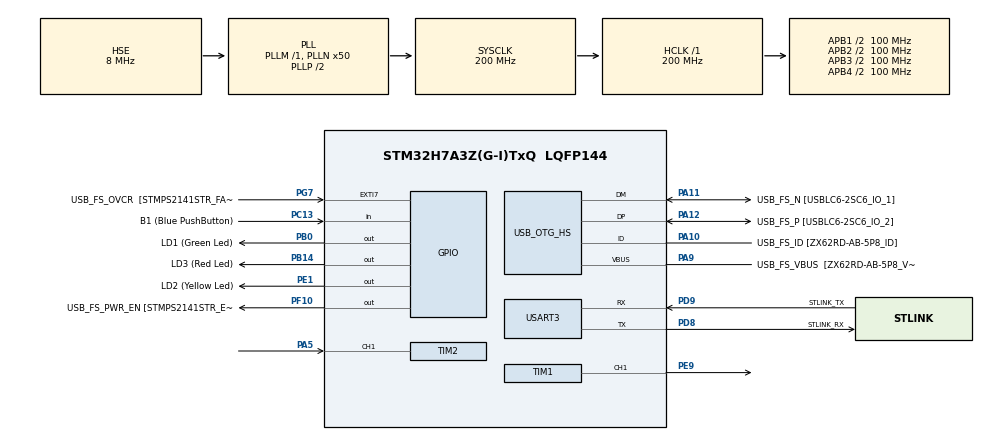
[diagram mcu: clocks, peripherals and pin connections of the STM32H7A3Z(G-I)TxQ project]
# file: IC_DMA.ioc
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Dma.Request0=TIM2_CH1
Dma.Request1=TIM2_CH2
Dma.TIM2_CH1.0.Direction=DMA_PERIPH_TO_MEMORY
Dma.TIM2_CH1.0.EventEnable=DISABLE
Dma.TIM2_CH1.0.FIFOMode=DMA_FIFOMODE_DISABLE
Dma.TIM2_CH1.0.Instance=DMA1_Stream0
Dma.TIM2_CH1.0.MemDataAlignment=DMA_MDATAALIGN_WORD
Dma.TIM2_CH1.0.MemInc=DMA_MINC_ENABLE
Dma.TIM2_CH1.0.Mode=DMA_NORMAL
Dma.TIM2_CH1.0.PeriphDataAlignment=DMA_PDATAALIGN_WORD
Dma.TIM2_CH1.0.PeriphInc=DMA_PINC_DISABLE
Dma.TIM2_CH1.0.Polarity=HAL_DMAMUX_REQ_GEN_RISING
Dma.TIM2_CH1.0.Priority=DMA_PRIORITY_LOW
Dma.TIM2_CH1.0.RequestNumber=1
Dma.TIM2_CH1.0.SignalID=NONE
Dma.TIM2_CH1.0.SyncEnable=DISABLE
Dma.TIM2_CH1.0.SyncPolarity=HAL_DMAMUX_SYNC_NO_EVENT
Dma.TIM2_CH1.0.SyncRequestNumber=1
Dma.TIM2_CH1.0.SyncSignalID=NONE
Dma.TIM2_CH2.1.Direction=DMA_PERIPH_TO_MEMORY
Dma.TIM2_CH2.1.EventEnable=DISABLE
Dma.TIM2_CH2.1.FIFOMode=DMA_FIFOMODE_DISABLE
Dma.TIM2_CH2.1.Instance=DMA1_Stream1
Dma.TIM2_CH2.1.MemDataAlignment=DMA_MDATAALIGN_WORD
Dma.TIM2_CH2.1.MemInc=DMA_MINC_ENABLE
Dma.TIM2_CH2.1.Mode=DMA_NORMAL
Dma.TIM2_CH2.1.PeriphDataAlignment=DMA_PDATAALIGN_WORD
Dma.TIM2_CH2.1.PeriphInc=DMA_PINC_DISABLE
Dma.TIM2_CH2.1.Polarity=HAL_DMAMUX_REQ_GEN_RISING
Dma.TIM2_CH2.1.Priority=DMA_PRIORITY_LOW
Dma.TIM2_CH2.1.RequestNumber=1
Dma.TIM2_CH2.1.SignalID=NONE
Dma.TIM2_CH2.1.SyncEnable=DISABLE
Dma.TIM2_CH2.1.SyncPolarity=HAL_DMAMUX_SYNC_NO_EVENT
Dma.TIM2_CH2.1.SyncRequestNumber=1
Dma.TIM2_CH2.1.SyncSignalID=NONE
Mcu.Family=STM32H7
Mcu.Name=STM32H7A3Z(G-I)TxQ
Mcu.Package=LQFP144
NVIC.DMA1_Stream0_IRQn=true\:0\:0\:false\:false\:true\:false\:true\:true
NVIC.DMA1_Stream1_IRQn=true\:0\:0\:false\:false\:true\:false\:true\:true
NVIC.PriorityGroup=NVIC_PRIORITYGROUP_4
NVIC.TIM2_IRQn=true\:0\:0\:false\:false\:true\:true\:true\:true
PA10.GPIO_Label=USB_FS_ID [ZX62RD-AB-5P8_ID]
PA10.Mode=OTG/Dual-Role-Device-FS
PA10.Signal=USB_OTG_HS_ID
PA11.GPIO_Label=USB_FS_N [USBLC6-2SC6_IO_1]
PA11.Mode=OTG/Dual-Role-Device-FS
PA11.Signal=USB_OTG_HS_DM
PA12.GPIO_Label=USB_FS_P [USBLC6-2SC6_IO_2]
PA12.Mode=OTG/Dual-Role-Device-FS
PA12.Signal=USB_OTG_HS_DP
PA5.Signal=S_TIM2_CH1_ETR
PA9.GPIO_Label=USB_FS_VBUS  [ZX62RD-AB-5P8_VBUS]
PA9.Mode=Activate_VBUS_FS
PA9.Signal=USB_OTG_HS_VBUS
PB0.GPIO_Label=LD1 (Green Led)
PB0.Signal=GPIO_Output
PB14.GPIO_Label=LD3 (Red Led)
PB14.Signal=GPIO_Output
PC13.GPIO_Label=B1 (Blue PushButton)
PC13.Signal=GPIO_Input
PC14-OSC32_IN.GPIO_Label=OSC32_IN
PC14-OSC32_IN.Mode=LSE-External-Oscillator
PC14-OSC32_IN.Signal=RCC_OSC32_IN
PC15-OSC32_OUT.GPIO_Label=OSC32_OUT
PC15-OSC32_OUT.Mode=LSE-External-Oscillator
PC15-OSC32_OUT.Signal=RCC_OSC32_OUT
PD8.GPIO_Label=STLINK_RX
PD8.Mode=Asynchronous
PD8.Signal=USART3_TX
PD9.GPIO_Label=STLINK_TX
PD9.Mode=Asynchronous
PD9.Signal=USART3_RX
PE1.GPIO_Label=LD2 (Yellow Led)
PE1.Signal=GPIO_Output
PE9.Signal=S_TIM1_CH1
PF10.GPIO_Label=USB_FS_PWR_EN [STMPS2141STR_EN]
PF10.Signal=GPIO_Output
PG7.GPIO_Label=USB_FS_OVCR  [STMPS2141STR_FAULT]
PG7.Signal=GPXTI7
PH0-OSC_IN.GPIO_Label=PH0-MCU
PH0-OSC_IN.Mode=HSE-External-Clock-Source
PH0-OSC_IN.Signal=RCC_OSC_IN
PH1-OSC_OUT.GPIO_Label=PH1-MCU
PH1-OSC_OUT.Signal=RCC_OSC_OUT
ProjectManager.HeapSize=0x200
ProjectManager.StackSize=0x400
ProjectManager.TargetToolchain=STM32CubeIDE
RCC.ADCFreq_Value=16125000
RCC.APB1Freq_Value=100000000
RCC.APB2Freq_Value=100000000
RCC.APB3Freq_Value=100000000
RCC.APB4Freq_Value=100000000
RCC.CDPPRE=RCC_APB3_DIV2
RCC.CDPPRE1=RCC_APB1_DIV2
RCC.CDPPRE2=RCC_APB2_DIV2
RCC.CortexFreq_Value=200000000
RCC.DIVM1=1
RCC.DIVM3=1
RCC.DIVN1=50
RCC.DIVN3=24
RCC.DIVQ1=4
RCC.HCLKFreq_Value=200000000
RCC.HSE_VALUE=8000000
RCC.PLLFRACN=0
RCC.PLLSourceVirtual=RCC_PLLSOURCE_HSE
RCC.PWR_Regulator_Voltage_Scale=PWR_REGULATOR_VOLTAGE_SCALE0
RCC.SRDPPRE=RCC_APB4_DIV2
RCC.SYSCLKFreq_VALUE=200000000
RCC.SYSCLKSource=RCC_SYSCLKSOURCE_PLLCLK
RCC.SupplySource=PWR_DIRECT_SMPS_SUPPLY
RCC.USBCLockSelection=RCC_USBCLKSOURCE_HSI48
RCC.USBFreq_Value=48000000
SH.S_TIM1_CH1.0=TIM1_CH1,PWM Generation1 CH1
SH.S_TIM2_CH1_ETR.0=TIM2_CH1,Input_Capture1_from_TI1
TIM1.AutoReloadPreload=TIM_AUTORELOAD_PRELOAD_ENABLE
TIM1.Channel-PWM\ Generation1\ CH1=TIM_CHANNEL_1
TIM1.Period=40
TIM1.Prescaler=0
TIM1.Pulse-PWM\ Generation1\ CH1=0
TIM2.AutoReloadPreload=TIM_AUTORELOAD_PRELOAD_ENABLE
TIM2.Channel-Input_Capture1_from_TI1=TIM_CHANNEL_1
TIM2.Channel-Input_Capture2_from_TI1_63=TIM_CHANNEL_2
TIM2.ICPolarity_CH1=TIM_INPUTCHANNELPOLARITY_RISING
TIM2.ICPolarity_CH2=TIM_INPUTCHANNELPOLARITY_FALLING
TIM2.Period=4294967295
USART3.VirtualMode-Asynchronous=VM_ASYNC
VP_TIM1_VS_ClockSourceINT.Mode=Internal
VP_TIM2_VS_ClockSourceINT.Mode=Internal
VP_TIM2_VS_indirect_ch1.Mode=Input_Capture2_from_TI1_63
board=NUCLEO-H7A3ZI-Q

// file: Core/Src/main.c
/* USER CODE BEGIN Header */
/**
  ******************************************************************************
  * @file           : main.c
  * @brief          : Main program body
  ******************************************************************************
  * @attention
  *
  * Copyright (c) 2024 STMicroelectronics.
  * All rights reserved.
  *
  * This software is licensed under terms that can be found in the LICENSE file
  * in the root directory of this software component.
  * If no LICENSE file comes with this software, it is provided AS-IS.
  *
  ******************************************************************************
  */
/* USER CODE END Header */
#include "main.h"

TIM_HandleTypeDef htim1;
TIM_HandleTypeDef htim2;
DMA_HandleTypeDef hdma_tim2_ch1;
DMA_HandleTypeDef hdma_tim2_ch2;

UART_HandleTypeDef huart3;

void SystemClock_Config(void);
static void MX_GPIO_Init(void);
static void MX_DMA_Init(void);
static void MX_USB_OTG_HS_USB_Init(void);
static void MX_TIM2_Init(void);
static void MX_USART3_UART_Init(void);
static void MX_TIM1_Init(void);

/* USER CODE BEGIN 0 */
/**************** PWM INPUT **************/

/* define the capturing TIMER's CLOCK and the Prescalar you are using */
#define TIMCLOCK   200000000
#define PSCALAR    0

/* Define the number of samples to be taken by the DMA
   For lower Frequencies, keep the less number for samples
*/
#define numval   10000

#define MIN(a,b) ((a) < (b) ? (a) : (b))

int riseCaptured = 0;
int fallCaptured = 0;

uint32_t riseData[numval];
uint32_t fallData[numval];

float frequency = 0;
float period = 0;
float width = 0;

int isMeasured = 0;

void HAL_TIM_IC_CaptureCallback(TIM_HandleTypeDef *htim)
{
	// If the Interrupt is triggered by 1st Channel
	if (htim->Channel == HAL_TIM_ACTIVE_CHANNEL_1)
	{
		riseCaptured = 1;
	}

	// If the Interrupt is triggered by 2nd Channel
	if (htim->Channel == HAL_TIM_ACTIVE_CHANNEL_2)
	{
		fallCaptured = 1;
	}

	/* Rest of the calculations will be done,
	 * once both the DMAs have finished capturing enough data */
	if ((riseCaptured) && (fallCaptured))
	{

		// calculate the reference clock
		float refClock = TIMCLOCK/(PSCALAR+1);

		int indxr = 0;
		int indxf = 0;

		int countr = 0;
		int countrf = 0;

		float riseavg = 0;
		float rfavg = 0;

		/* In case of high Frequencies, the DMA sometimes captures 0's in the beginning.
		 * increment the index until some useful data shows up
		 */
		while (riseData[indxr] == 0) indxr++;

		/* Again at very high frequencies, sometimes the values don't change
		 * So we will wait for the update among the values
		 */
		while ((MIN((riseData[indxr+1]-riseData[indxr]), (riseData[indxr+2]-riseData[indxr+1]))) == 0) indxr++;

		/* riseavg is the difference in the 2 consecutive rise Time */

		/* Assign a start value to riseavg */
		riseavg += MIN((riseData[indxr+1]-riseData[indxr]), (riseData[indxr+2]-riseData[indxr+1]));
		indxr++;
		countr++;

		/* start adding the values to the riseavg */
		while (indxr < (numval))
		{
			riseavg += MIN((riseData[indxr+1]-riseData[indxr]), riseavg/countr);
			countr++;
			indxr++;
		}

		/* Find the average riseavg, the average time between 2 RISE */
		riseavg = riseavg/countr;

		indxr = 0;

		/* The calculation for the Falling pulse on second channel */

		/* If the fall time is lower than rise time,
		 * Then there must be some error and we will increment
		 * both, until the error is gone
		 */
		if (fallData[indxf] < riseData[indxr])
		{
			indxf+=2; indxr+=2;
			while (fallData[indxf] < riseData[indxr]) indxf++;
		}

		else if (fallData[indxf] > riseData[indxr])
		{
			indxf+=2; indxr+=2;
			while (fallData[indxf] > riseData[indxr+1]) indxr++;
		}

		/* The method used for the calculation below is as follows:
		 * If Fall time < Rise Time, increment Fall counter
		 * If Fall time - Rise Time is in between 0 and (difference between 2 Rise times), then its a success
		 * If fall time > Rise time, but is also > (difference between 2 Rise times), then increment Rise Counter
		 */
		while ((indxf < (numval)) && (indxr < (numval)))
		{
			/* If the Fall time is lower than rise time, increment the fall indx */
			while ((int16_t)(fallData[indxf]-riseData[indxr]) < 0)
			{
				indxf++;
			}

			/* If the Difference in fall time and rise time is >0 and less than rise average,
			 * Then we will register it as a success and increment the countrf (the number of successes)
			 */
			if (((int16_t)(fallData[indxf]-riseData[indxr]) >= 0) && (((int16_t)(fallData[indxf]-riseData[indxr]) <= riseavg)))
			{
				rfavg += MIN((fallData[indxf]-riseData[indxr]), (fallData[indxf+1]-riseData[indxr+1]));
				indxf++;
				indxr++;
				countrf++;
			}

			else
			{
				indxr++;
			}
		}

		/* Calculate the Average time between 2 Rise */
		rfavg = rfavg/countrf;

		/* Calculate Frequency
		 * Freq = Clock/(time taken between 2 Rise)
		 */
		frequency = (refClock/(float)riseavg);;
		period = ((float)riseavg/refClock);

		/* Width of the pulse
		 *  = (Time between Rise and fall) / clock
		 */
		width = ((rfavg)/((float)(refClock/1000000)))*1000;   // width in ns

		riseCaptured = 0;
		fallCaptured = 0;

		isMeasured = 1;

	}
}
/* USER CODE END 0 */

int main(void)
{

  /* MCU Configuration--------------------------------------------------------*/

  /* Reset of all peripherals, Initializes the Flash interface and the Systick. */
  HAL_Init();

  /* Configure the system clock */
  SystemClock_Config();

  /* Initialize all configured peripherals */
  MX_GPIO_Init();
  MX_DMA_Init();
  MX_USB_OTG_HS_USB_Init();
  MX_TIM2_Init();
  MX_USART3_UART_Init();
  MX_TIM1_Init();
  /* USER CODE BEGIN 2 */
  TIM1->CCR1 = htim1.Init.Period / 2;
  HAL_TIM_PWM_Start(&htim1,TIM_CHANNEL_1);
  HAL_TIM_IC_Start_DMA(&htim2, TIM_CHANNEL_1,riseData,numval);
  HAL_TIM_IC_Start_DMA(&htim2, TIM_CHANNEL_2,fallData,numval);

  /* USER CODE END 2 */

  /* Infinite loop */
  while (1)
  {

    /* USER CODE BEGIN 3 */
	  	  HAL_Delay(1000);
	  	  if (isMeasured){
	  		  TIM2->CNT = 0;
	  		  HAL_TIM_IC_Start_DMA(&htim2, TIM_CHANNEL_1,riseData,numval);
	  		  HAL_TIM_IC_Start_DMA(&htim2, TIM_CHANNEL_2,fallData,numval);
	  		  isMeasured = 0;
	  	  }
  }
  /* USER CODE END 3 */
}

void SystemClock_Config(void)
{
  RCC_OscInitTypeDef RCC_OscInitStruct = {0};
  RCC_ClkInitTypeDef RCC_ClkInitStruct = {0};

  /*AXI clock gating */
  RCC->CKGAENR = 0xFFFFFFFF;

  /** Supply configuration update enable
  */
  HAL_PWREx_ConfigSupply(PWR_DIRECT_SMPS_SUPPLY);

  /** Configure the main internal regulator output voltage
  */
  __HAL_PWR_VOLTAGESCALING_CONFIG(PWR_REGULATOR_VOLTAGE_SCALE0);

  while(!__HAL_PWR_GET_FLAG(PWR_FLAG_VOSRDY)) {}

  /** Initializes the RCC Oscillators according to the specified parameters
  * in the RCC_OscInitTypeDef structure.
  */
  RCC_OscInitStruct.OscillatorType = RCC_OSCILLATORTYPE_HSI48|RCC_OSCILLATORTYPE_HSE;
  RCC_OscInitStruct.HSEState = RCC_HSE_BYPASS;
  RCC_OscInitStruct.HSI48State = RCC_HSI48_ON;
  RCC_OscInitStruct.PLL.PLLState = RCC_PLL_ON;
  RCC_OscInitStruct.PLL.PLLSource = RCC_PLLSOURCE_HSE;
  RCC_OscInitStruct.PLL.PLLM = 1;
  RCC_OscInitStruct.PLL.PLLN = 50;
  RCC_OscInitStruct.PLL.PLLP = 2;
  RCC_OscInitStruct.PLL.PLLQ = 4;
  RCC_OscInitStruct.PLL.PLLR = 2;
  RCC_OscInitStruct.PLL.PLLRGE = RCC_PLL1VCIRANGE_3;
  RCC_OscInitStruct.PLL.PLLVCOSEL = RCC_PLL1VCOWIDE;
  RCC_OscInitStruct.PLL.PLLFRACN = 0;
  if (HAL_RCC_OscConfig(&RCC_OscInitStruct) != HAL_OK)
  {
    Error_Handler();
  }

  /** Initializes the CPU, AHB and APB buses clocks
  */
  RCC_ClkInitStruct.ClockType = RCC_CLOCKTYPE_HCLK|RCC_CLOCKTYPE_SYSCLK
                              |RCC_CLOCKTYPE_PCLK1|RCC_CLOCKTYPE_PCLK2
                              |RCC_CLOCKTYPE_D3PCLK1|RCC_CLOCKTYPE_D1PCLK1;
  RCC_ClkInitStruct.SYSCLKSource = RCC_SYSCLKSOURCE_PLLCLK;
  RCC_ClkInitStruct.SYSCLKDivider = RCC_SYSCLK_DIV1;
  RCC_ClkInitStruct.AHBCLKDivider = RCC_HCLK_DIV1;
  RCC_ClkInitStruct.APB3CLKDivider = RCC_APB3_DIV2;
  RCC_ClkInitStruct.APB1CLKDivider = RCC_APB1_DIV2;
  RCC_ClkInitStruct.APB2CLKDivider = RCC_APB2_DIV2;
  RCC_ClkInitStruct.APB4CLKDivider = RCC_APB4_DIV2;

  if (HAL_RCC_ClockConfig(&RCC_ClkInitStruct, FLASH_LATENCY_4) != HAL_OK)
  {
    Error_Handler();
  }
}

static void MX_TIM1_Init(void)
{

  TIM_ClockConfigTypeDef sClockSourceConfig = {0};
  TIM_MasterConfigTypeDef sMasterConfig = {0};
  TIM_OC_InitTypeDef sConfigOC = {0};
  TIM_BreakDeadTimeConfigTypeDef sBreakDeadTimeConfig = {0};

  htim1.Instance = TIM1;
  htim1.Init.Prescaler = 0;
  htim1.Init.CounterMode = TIM_COUNTERMODE_UP;
  htim1.Init.Period = 40;
  htim1.Init.ClockDivision = TIM_CLOCKDIVISION_DIV1;
  htim1.Init.RepetitionCounter = 0;
  htim1.Init.AutoReloadPreload = TIM_AUTORELOAD_PRELOAD_ENABLE;
  if (HAL_TIM_Base_Init(&htim1) != HAL_OK)
  {
    Error_Handler();
  }
  sClockSourceConfig.ClockSource = TIM_CLOCKSOURCE_INTERNAL;
  if (HAL_TIM_ConfigClockSource(&htim1, &sClockSourceConfig) != HAL_OK)
  {
    Error_Handler();
  }
  if (HAL_TIM_PWM_Init(&htim1) != HAL_OK)
  {
    Error_Handler();
  }
  sMasterConfig.MasterOutputTrigger = TIM_TRGO_RESET;
  sMasterConfig.MasterOutputTrigger2 = TIM_TRGO2_RESET;
  sMasterConfig.MasterSlaveMode = TIM_MASTERSLAVEMODE_DISABLE;
  if (HAL_TIMEx_MasterConfigSynchronization(&htim1, &sMasterConfig) != HAL_OK)
  {
    Error_Handler();
  }
  sConfigOC.OCMode = TIM_OCMODE_PWM1;
  sConfigOC.Pulse = 0;
  sConfigOC.OCPolarity = TIM_OCPOLARITY_HIGH;
  sConfigOC.OCNPolarity = TIM_OCNPOLARITY_HIGH;
  sConfigOC.OCFastMode = TIM_OCFAST_DISABLE;
  sConfigOC.OCIdleState = TIM_OCIDLESTATE_RESET;
  sConfigOC.OCNIdleState = TIM_OCNIDLESTATE_RESET;
  if (HAL_TIM_PWM_ConfigChannel(&htim1, &sConfigOC, TIM_CHANNEL_1) != HAL_OK)
  {
    Error_Handler();
  }
  sBreakDeadTimeConfig.OffStateRunMode = TIM_OSSR_DISABLE;
  sBreakDeadTimeConfig.OffStateIDLEMode = TIM_OSSI_DISABLE;
  sBreakDeadTimeConfig.LockLevel = TIM_LOCKLEVEL_OFF;
  sBreakDeadTimeConfig.DeadTime = 0;
  sBreakDeadTimeConfig.BreakState = TIM_BREAK_DISABLE;
  sBreakDeadTimeConfig.BreakPolarity = TIM_BREAKPOLARITY_HIGH;
  sBreakDeadTimeConfig.BreakFilter = 0;
  sBreakDeadTimeConfig.Break2State = TIM_BREAK2_DISABLE;
  sBreakDeadTimeConfig.Break2Polarity = TIM_BREAK2POLARITY_HIGH;
  sBreakDeadTimeConfig.Break2Filter = 0;
  sBreakDeadTimeConfig.AutomaticOutput = TIM_AUTOMATICOUTPUT_DISABLE;
  if (HAL_TIMEx_ConfigBreakDeadTime(&htim1, &sBreakDeadTimeConfig) != HAL_OK)
  {
    Error_Handler();
  }
  HAL_TIM_MspPostInit(&htim1);

}

static void MX_TIM2_Init(void)
{

  TIM_ClockConfigTypeDef sClockSourceConfig = {0};
  TIM_MasterConfigTypeDef sMasterConfig = {0};
  TIM_IC_InitTypeDef sConfigIC = {0};

  htim2.Instance = TIM2;
  htim2.Init.Prescaler = 0;
  htim2.Init.CounterMode = TIM_COUNTERMODE_UP;
  htim2.Init.Period = 4294967295;
  htim2.Init.ClockDivision = TIM_CLOCKDIVISION_DIV1;
  htim2.Init.AutoReloadPreload = TIM_AUTORELOAD_PRELOAD_ENABLE;
  if (HAL_TIM_Base_Init(&htim2) != HAL_OK)
  {
    Error_Handler();
  }
  sClockSourceConfig.ClockSource = TIM_CLOCKSOURCE_INTERNAL;
  if (HAL_TIM_ConfigClockSource(&htim2, &sClockSourceConfig) != HAL_OK)
  {
    Error_Handler();
  }
  if (HAL_TIM_IC_Init(&htim2) != HAL_OK)
  {
    Error_Handler();
  }
  sMasterConfig.MasterOutputTrigger = TIM_TRGO_RESET;
  sMasterConfig.MasterSlaveMode = TIM_MASTERSLAVEMODE_DISABLE;
  if (HAL_TIMEx_MasterConfigSynchronization(&htim2, &sMasterConfig) != HAL_OK)
  {
    Error_Handler();
  }
  sConfigIC.ICPolarity = TIM_INPUTCHANNELPOLARITY_RISING;
  sConfigIC.ICSelection = TIM_ICSELECTION_DIRECTTI;
  sConfigIC.ICPrescaler = TIM_ICPSC_DIV1;
  sConfigIC.ICFilter = 0;
  if (HAL_TIM_IC_ConfigChannel(&htim2, &sConfigIC, TIM_CHANNEL_1) != HAL_OK)
  {
    Error_Handler();
  }
  sConfigIC.ICPolarity = TIM_INPUTCHANNELPOLARITY_FALLING;
  sConfigIC.ICSelection = TIM_ICSELECTION_INDIRECTTI;
  if (HAL_TIM_IC_ConfigChannel(&htim2, &sConfigIC, TIM_CHANNEL_2) != HAL_OK)
  {
    Error_Handler();
  }

}

static void MX_USART3_UART_Init(void)
{

  huart3.Instance = USART3;
  huart3.Init.BaudRate = 115200;
  huart3.Init.WordLength = UART_WORDLENGTH_8B;
  huart3.Init.StopBits = UART_STOPBITS_1;
  huart3.Init.Parity = UART_PARITY_NONE;
  huart3.Init.Mode = UART_MODE_TX_RX;
  huart3.Init.HwFlowCtl = UART_HWCONTROL_NONE;
  huart3.Init.OverSampling = UART_OVERSAMPLING_16;
  huart3.Init.OneBitSampling = UART_ONE_BIT_SAMPLE_DISABLE;
  huart3.Init.ClockPrescaler = UART_PRESCALER_DIV1;
  huart3.AdvancedInit.AdvFeatureInit = UART_ADVFEATURE_NO_INIT;
  if (HAL_UART_Init(&huart3) != HAL_OK)
  {
    Error_Handler();
  }
  if (HAL_UARTEx_SetTxFifoThreshold(&huart3, UART_TXFIFO_THRESHOLD_1_8) != HAL_OK)
  {
    Error_Handler();
  }
  if (HAL_UARTEx_SetRxFifoThreshold(&huart3, UART_RXFIFO_THRESHOLD_1_8) != HAL_OK)
  {
    Error_Handler();
  }
  if (HAL_UARTEx_DisableFifoMode(&huart3) != HAL_OK)
  {
    Error_Handler();
  }

}

static void MX_USB_OTG_HS_USB_Init(void)
{

}

static void MX_DMA_Init(void)
{

  /* DMA controller clock enable */
  __HAL_RCC_DMA1_CLK_ENABLE();

  /* DMA interrupt init */
  /* DMA1_Stream0_IRQn interrupt configuration */
  HAL_NVIC_SetPriority(DMA1_Stream0_IRQn, 0, 0);
  HAL_NVIC_EnableIRQ(DMA1_Stream0_IRQn);
  /* DMA1_Stream1_IRQn interrupt configuration */
  HAL_NVIC_SetPriority(DMA1_Stream1_IRQn, 0, 0);
  HAL_NVIC_EnableIRQ(DMA1_Stream1_IRQn);

}

static void MX_GPIO_Init(void)
{
  GPIO_InitTypeDef GPIO_InitStruct = {0};

  /* GPIO Ports Clock Enable */
  __HAL_RCC_GPIOC_CLK_ENABLE();
  __HAL_RCC_GPIOF_CLK_ENABLE();
  __HAL_RCC_GPIOH_CLK_ENABLE();
  __HAL_RCC_GPIOA_CLK_ENABLE();
  __HAL_RCC_GPIOB_CLK_ENABLE();
  __HAL_RCC_GPIOE_CLK_ENABLE();
  __HAL_RCC_GPIOD_CLK_ENABLE();
  __HAL_RCC_GPIOG_CLK_ENABLE();

  /*Configure GPIO pin Output Level */
  HAL_GPIO_WritePin(USB_FS_PWR_EN_GPIO_Port, USB_FS_PWR_EN_Pin, GPIO_PIN_RESET);

  /*Configure GPIO pin Output Level */
  HAL_GPIO_WritePin(GPIOB, LD1_Pin|LD3_Pin, GPIO_PIN_RESET);

  /*Configure GPIO pin Output Level */
  HAL_GPIO_WritePin(LD2_GPIO_Port, LD2_Pin, GPIO_PIN_RESET);

  /*Configure GPIO pin : B1_Pin */
  GPIO_InitStruct.Pin = B1_Pin;
  GPIO_InitStruct.Mode = GPIO_MODE_INPUT;
  GPIO_InitStruct.Pull = GPIO_NOPULL;
  HAL_GPIO_Init(B1_GPIO_Port, &GPIO_InitStruct);

  /*Configure GPIO pin : USB_FS_PWR_EN_Pin */
  GPIO_InitStruct.Pin = USB_FS_PWR_EN_Pin;
  GPIO_InitStruct.Mode = GPIO_MODE_OUTPUT_PP;
  GPIO_InitStruct.Pull = GPIO_NOPULL;
  GPIO_InitStruct.Speed = GPIO_SPEED_FREQ_LOW;
  HAL_GPIO_Init(USB_FS_PWR_EN_GPIO_Port, &GPIO_InitStruct);

  /*Configure GPIO pins : LD1_Pin LD3_Pin */
  GPIO_InitStruct.Pin = LD1_Pin|LD3_Pin;
  GPIO_InitStruct.Mode = GPIO_MODE_OUTPUT_PP;
  GPIO_InitStruct.Pull = GPIO_NOPULL;
  GPIO_InitStruct.Speed = GPIO_SPEED_FREQ_LOW;
  HAL_GPIO_Init(GPIOB, &GPIO_InitStruct);

  /*Configure GPIO pin : USB_FS_OVCR_Pin */
  GPIO_InitStruct.Pin = USB_FS_OVCR_Pin;
  GPIO_InitStruct.Mode = GPIO_MODE_IT_RISING;
  GPIO_InitStruct.Pull = GPIO_NOPULL;
  HAL_GPIO_Init(USB_FS_OVCR_GPIO_Port, &GPIO_InitStruct);

  /*Configure GPIO pin : USB_FS_VBUS_Pin */
  GPIO_InitStruct.Pin = USB_FS_VBUS_Pin;
  GPIO_InitStruct.Mode = GPIO_MODE_INPUT;
  GPIO_InitStruct.Pull = GPIO_NOPULL;
  HAL_GPIO_Init(USB_FS_VBUS_GPIO_Port, &GPIO_InitStruct);

  /*Configure GPIO pin : USB_FS_ID_Pin */
  GPIO_InitStruct.Pin = USB_FS_ID_Pin;
  GPIO_InitStruct.Mode = GPIO_MODE_AF_PP;
  GPIO_InitStruct.Pull = GPIO_NOPULL;
  GPIO_InitStruct.Speed = GPIO_SPEED_FREQ_LOW;
  GPIO_InitStruct.Alternate = GPIO_AF10_OTG1_HS;
  HAL_GPIO_Init(USB_FS_ID_GPIO_Port, &GPIO_InitStruct);

  /*Configure GPIO pins : USB_FS_N_Pin USB_FS_P_Pin */
  GPIO_InitStruct.Pin = USB_FS_N_Pin|USB_FS_P_Pin;
  GPIO_InitStruct.Mode = GPIO_MODE_AF_PP;
  GPIO_InitStruct.Pull = GPIO_NOPULL;
  GPIO_InitStruct.Speed = GPIO_SPEED_FREQ_LOW;
  HAL_GPIO_Init(GPIOA, &GPIO_InitStruct);

  /*Configure GPIO pin : LD2_Pin */
  GPIO_InitStruct.Pin = LD2_Pin;
  GPIO_InitStruct.Mode = GPIO_MODE_OUTPUT_PP;
  GPIO_InitStruct.Pull = GPIO_NOPULL;
  GPIO_InitStruct.Speed = GPIO_SPEED_FREQ_LOW;
  HAL_GPIO_Init(LD2_GPIO_Port, &GPIO_InitStruct);

}

void Error_Handler(void)
{
  __disable_irq();
  while (1)
  {
  }
}
